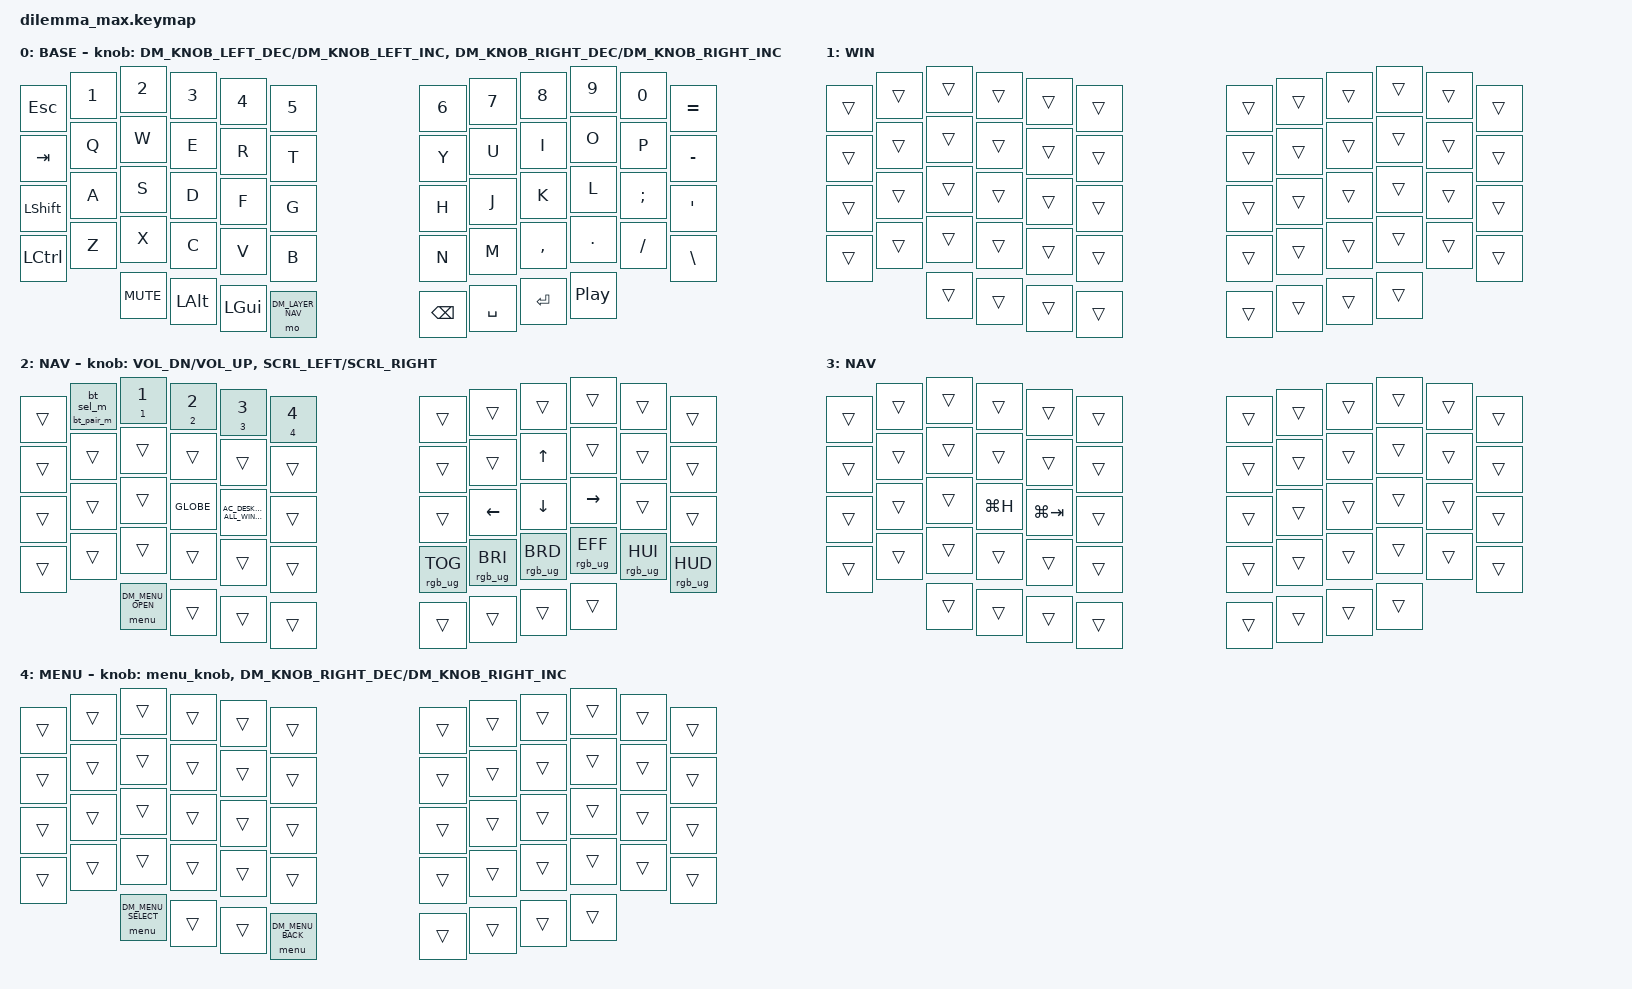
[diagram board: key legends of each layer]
// Dilemma Max Keymap

#include <behaviors.dtsi>
#include <dt-bindings/zmk/keys.h>
// Override default scroll speed: 100 * 16ms/1000 = 1.6 units/tick (>= 1 required)
#define ZMK_POINTING_DEFAULT_SCRL_VAL 100
#include <dt-bindings/zmk/pointing.h>
#include <dt-bindings/zmk/bt.h>
#include <dt-bindings/zmk/rgb.h>
#include <dt-bindings/dilemma_max/menu.h>
#include <dt-bindings/dilemma_max/knob.h>

/ {
    behaviors {
        scroll_encoder: scroll_encoder {
            compatible = "zmk,behavior-sensor-rotate-var";
            #sensor-binding-cells = <2>;
            bindings = <&msc>, <&msc>;
            // tap-ms must be > trigger-period-ms (16ms) so the msc tick fires at least once
            tap-ms = <25>;
        };

        // Beide Encoder auf dem Basis-Layer: was sie tun (Lautstaerke, Scrollen, Helligkeit),
        // wird im Menue unter Input eingestellt, siehe src/knob.c. tap-ms wie beim
        // scroll_encoder, damit beim Scrollen mindestens ein Tick faellt.
        knob_enc: knob_enc {
            compatible = "zmk,behavior-sensor-rotate-var";
            #sensor-binding-cells = <2>;
            bindings = <&knob>, <&knob>;
            tap-ms = <25>;
        };

        // Bluetooth-Profile auf NAV + 1..5: tippen waehlt das Profil, 3 s halten waehlt es und
        // loescht seine Kopplung (&bt BT_CLR) -- danach wartet es auf einen neuen Rechner.
        // Das Loeschen passiert sofort und laesst sich nicht abbrechen.
        bt_sel_m: bt_sel_m {
            compatible = "zmk,behavior-macro-one-param";
            #binding-cells = <1>;
            bindings = <&macro_param_1to2 &bt BT_SEL_CMD MACRO_PLACEHOLDER>;
        };
        bt_pair_m: bt_pair_m {
            compatible = "zmk,behavior-macro-one-param";
            #binding-cells = <1>;
            bindings = <&macro_param_1to2 &bt BT_SEL_CMD MACRO_PLACEHOLDER>, <&bt BT_CLR>;
        };
        bt_ht: bt_ht {
            compatible = "zmk,behavior-hold-tap";
            #binding-cells = <2>;
            flavor = "hold-preferred";
            tapping-term-ms = <3000>;
            bindings = <&bt_pair_m>, <&bt_sel_m>;
        };
    };

    // NAV und WIN zusammen schalten die Windows-Varianten der NAV-Tasten dazu
    conditional_layers {
        compatible = "zmk,conditional-layers";
        nav_win {
            if-layers = <DM_LAYER_WIN DM_LAYER_NAV>;
            then-layer = <DM_LAYER_NAV_WIN>;
        };
    };

    keymap {
        compatible = "zmk,keymap";

        // Die Reihenfolge der Layer ist in dt-bindings/dilemma_max/layers.h festgelegt:
        // BASE, WIN, NAV, NAV_WIN, MENU. Die Firmware schaltet WIN und MENU selbst.
        default_layer {
            display-name = "BASE";
            // ┌─────┬───┬───┬───┬───┬───┐   ┌───┬───┬───┬───┬───┬─────┐
            // │ ESC │ 1 │ 2 │ 3 │ 4 │ 5 │   │ 6 │ 7 │ 8 │ 9 │ 0 │  =  │
            // ├─────┼───┼───┼───┼───┼───┤   ├───┼───┼───┼───┼───┼─────┤
            // │ TAB │ Q │ W │ E │ R │ T │   │ Y │ U │ I │ O │ P │  -  │
            // ├─────┼───┼───┼───┼───┼───┤   ├───┼───┼───┼───┼───┼─────┤
            // │LSFT │ A │ S │ D │ F │ G │   │ H │ J │ K │ L │ ; │  '  │
            // ├─────┼───┼───┼───┼───┼───┤   ├───┼───┼───┼───┼───┼─────┤
            // │LCTL │ Z │ X │ C │ V │ B │   │ N │ M │ , │ . │ / │  \  │
            // └─────┴───┼───┼───┼───┼───┤   ├───┼───┼───┼───┴───┴─────┘
            //           │MUT│ALT│GUI│NAV│   │BSP│SPC│RET│C_PP│
            //           └───┴───┴───┴───┘   └───┴───┴───┴────┘
            bindings = <
                &kp ESC    &kp N1  &kp N2  &kp N3    &kp N4   &kp N5               &kp N6   &kp N7   &kp N8     &kp N9   &kp N0    &kp EQUAL
                &kp TAB    &kp Q   &kp W   &kp E     &kp R    &kp T                &kp Y    &kp U    &kp I      &kp O    &kp P     &kp MINUS
                &kp LSHFT  &kp A   &kp S   &kp D     &kp F    &kp G                &kp H    &kp J    &kp K      &kp L    &kp SEMI  &kp SQT
                &kp LCTRL  &kp Z   &kp X   &kp C     &kp V    &kp B                &kp N    &kp M    &kp COMMA  &kp DOT  &kp FSLH  &kp BSLH
                                  &kp C_MUTE &kp LALT &kp LGUI &mo DM_LAYER_NAV      &kp BSPC &kp SPACE &kp RET &kp C_PP
            >;

            // Funktion beider Encoder: einstellbar im Menue (Standard: links Lautstaerke,
            // rechts Scrollen)
            sensor-bindings = <&knob_enc DM_KNOB_LEFT_DEC DM_KNOB_LEFT_INC &knob_enc DM_KNOB_RIGHT_DEC DM_KNOB_RIGHT_INC>;
        };

        // Layer DM_LAYER_WIN (1): aktiv, solange der gewaehlte Ausgang im Menue auf "win"
        // steht. Die Modifier liegen unter Windows wie auf dem Mac: Ctrl unten links, Alt und
        // die Windows-Taste (GUI) am Daumen - der Layer ueberschreibt deshalb im Moment keine
        // Taste. Er bleibt, weil an ihm die Windows-Varianten der NAV-Tasten (NAV_WIN) und
        // die Anzeige auf dem Display haengen, und als Platz fuer kuenftige Unterschiede.
        win_layer {
            display-name = "WIN";
            bindings = <
                &trans  &trans  &trans  &trans  &trans  &trans      &trans  &trans  &trans  &trans  &trans  &trans
                &trans  &trans  &trans  &trans  &trans  &trans      &trans  &trans  &trans  &trans  &trans  &trans
                &trans  &trans  &trans  &trans  &trans  &trans      &trans  &trans  &trans  &trans  &trans  &trans
                &trans  &trans  &trans  &trans  &trans  &trans      &trans  &trans  &trans  &trans  &trans  &trans
                                &trans  &trans  &trans  &trans      &trans  &trans  &trans  &trans
            >;
        };

        nav_layer {
            display-name = "NAV";
            // ┌─────┬───┬───┬───┬───┬───┐   ┌───┬───┬───┬───┬───┬─────┐
            // │     │BT0│BT1│BT2│BT3│BT4│   │   │   │   │   │   │     │
            // ├─────┼───┼───┼───┼───┼───┤   ├───┼───┼───┼───┼───┼─────┤
            // │     │   │   │   │   │   │   │   │   │ ↑ │   │   │     │
            // ├─────┼───┼───┼───┼───┼───┤   ├───┼───┼───┼───┼───┼─────┤
            // │     │   │   │FN │MIS│   │   │   │ ← │ ↓ │ → │   │     │
            // ├─────┼───┼───┼───┼───┼───┤   ├───┼───┼───┼───┼───┼─────┤
            // │     │   │   │   │   │   │   │TOG│BRI│BRD│EFF│HUI│ HUD │
            // └─────┴───┼───┼───┼───┼───┤   ├───┼───┼───┼───┴───┴─────┘
            //           │   │   │   │   │   │   │   │   │
            //           └───┴───┴───┴───┘   └───┴───┴───┴───┘
            // BT0-4 = Bluetooth Profile 0-4: tippen = waehlen, 3 s halten = waehlen und Kopplung
            //         loeschen (Pairing-Modus fuer einen neuen Rechner)
            // FN    = Globe/Fn-Taste (Diktat)
            // MIS   = Mission Control (C_AC_DESKTOP_SHOW_ALL_WINDOWS)
            // TOG   = RGB Toggle, BRI/BRD = Helligkeit, EFF = Effekt, HUI/HUD = Farbe
            // Encoder druecken (Daumenreihe ganz links) = Einstellungsmenue oeffnen und schliessen
            bindings = <
                &trans      &bt_ht 0 0    &bt_ht 1 1    &bt_ht 2 2          &bt_ht 3 3                          &bt_ht 4 4    &trans  &trans    &trans    &trans     &trans  &trans
                &trans      &trans        &trans        &trans               &trans                              &trans        &trans  &trans    &kp UP    &trans     &trans  &trans
                &trans      &trans        &trans        &kp GLOBE            &kp C_AC_DESKTOP_SHOW_ALL_WINDOWS   &trans        &trans  &kp LEFT  &kp DOWN  &kp RIGHT  &trans  &trans
                &trans      &trans        &trans        &trans               &trans                              &trans  &rgb_ug RGB_TOG  &rgb_ug RGB_BRI  &rgb_ug RGB_BRD  &rgb_ug RGB_EFF  &rgb_ug RGB_HUI  &rgb_ug RGB_HUD
                            &menu DM_MENU_OPEN  &trans        &trans               &trans                              &trans        &trans  &trans    &trans
            >;

            // Left encoder: volume | Right encoder: horizontal scroll (Maussimulation)
            sensor-bindings = <&inc_dec_kp C_VOL_DN C_VOL_UP &scroll_encoder SCRL_LEFT SCRL_RIGHT>;
        };

        // Layer DM_LAYER_NAV_WIN (3): NAV unter Windows, schaltet sich ueber conditional_layers
        // von selbst ein. Ersetzt die Mac-Sondertasten: Diktat (Win+H) statt Globe,
        // Task-Ansicht (Win+Tab) statt Mission Control.
        nav_win_layer {
            display-name = "NAV";
            bindings = <
                &trans  &trans  &trans  &trans      &trans        &trans      &trans  &trans  &trans  &trans  &trans  &trans
                &trans  &trans  &trans  &trans      &trans        &trans      &trans  &trans  &trans  &trans  &trans  &trans
                &trans  &trans  &trans  &kp LG(H)   &kp LG(TAB)   &trans      &trans  &trans  &trans  &trans  &trans  &trans
                &trans  &trans  &trans  &trans      &trans        &trans      &trans  &trans  &trans  &trans  &trans  &trans
                                &trans  &trans      &trans        &trans      &trans  &trans  &trans  &trans
            >;
        };

        // Layer DM_LAYER_MENU (4): aktiv, solange das Einstellungsmenue auf dem Display offen
        // ist. Oeffnen: NAV halten und den linken Encoder druecken. Im Menue: drehen = Eintrag
        // waehlen, druecken = Untermenue oeffnen oder Wert weiterschalten, NAV antippen = eine
        // Ebene zurueck, NAV + druecken = schliessen. Nach 20 s Pause geht es von selbst zu.
        // Die NAV-Taste gehoert hier dem Menue, alle anderen Tasten bleiben, wie sie sind.
        menu_layer {
            display-name = "MENU";
            bindings = <
                &trans  &trans  &trans  &trans  &trans  &trans      &trans  &trans  &trans  &trans  &trans  &trans
                &trans  &trans  &trans  &trans  &trans  &trans      &trans  &trans  &trans  &trans  &trans  &trans
                &trans  &trans  &trans  &trans  &trans  &trans      &trans  &trans  &trans  &trans  &trans  &trans
                &trans  &trans  &trans  &trans  &trans  &trans      &trans  &trans  &trans  &trans  &trans  &trans
                        &menu DM_MENU_SELECT  &trans  &trans  &menu DM_MENU_BACK      &trans  &trans  &trans  &trans
            >;

            sensor-bindings = <&menu_knob &knob_enc DM_KNOB_RIGHT_DEC DM_KNOB_RIGHT_INC>;
        };
    };
};
